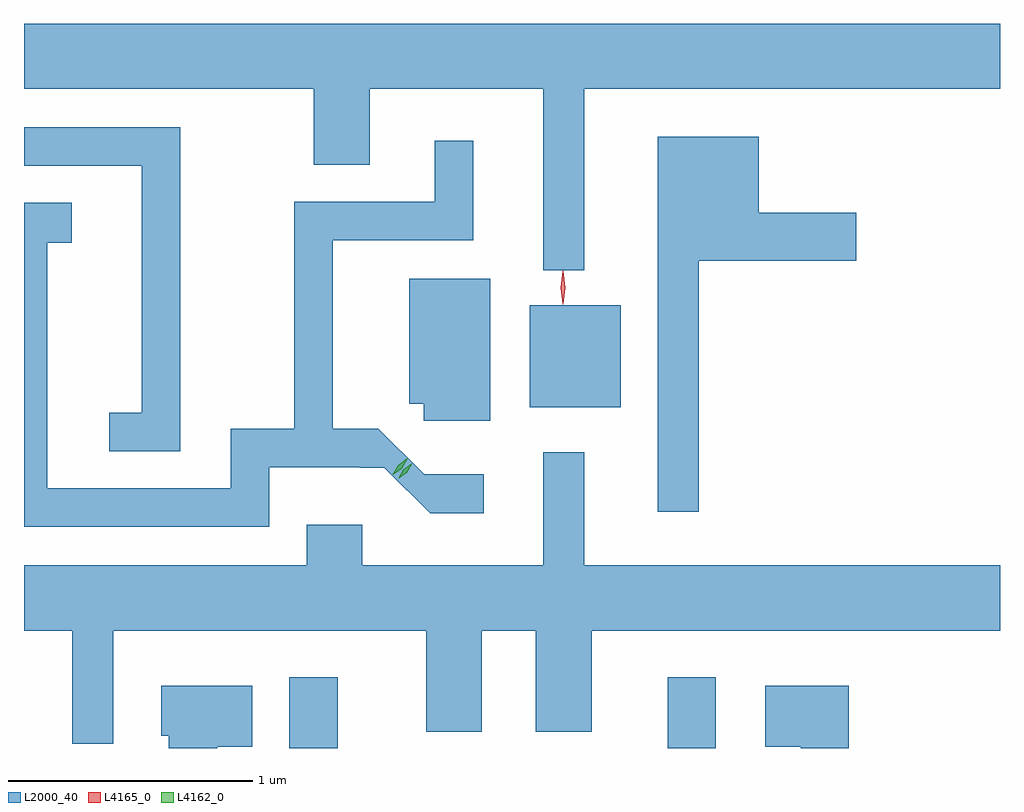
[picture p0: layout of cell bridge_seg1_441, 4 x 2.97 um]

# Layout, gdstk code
import gdstk
lib = gdstk.Library(unit=1e-6, precision=1e-09)
def R(c, l, rs):  # rectangles x0, y0, x1, y1
    for r in rs: c.add(gdstk.rectangle(r[:2], r[2:], *l))
def P(c, l, *ps):  # polygons
    for p in ps: c.add(gdstk.Polygon(p, *l))
L2000_40 = (2000, 40)
L4162_0 = (4162, 0)
L4165_0 = (4165, 0)

bridge_seg1_441 = lib.new_cell('bridge_seg1_441')
R(bridge_seg1_441, L2000_40, [(197.291,863.573,197.489,863.864), (198.841,863.573,199.039,863.864), (198.276,864.971,198.649,865.389)])
P(bridge_seg1_441, L2000_40, [(198.499,866.276),(200.203,866.276),(200.203,866.544),(196.203,866.544),(196.203,866.276),(197.391,866.276),(197.391,865.966),(197.619,865.966),(197.619,866.276),(198.331,866.276),(198.331,865.533),(198.499,865.533)],
  [(196.844,866.119),(196.203,866.119),(196.203,865.961),(196.686,865.961),(196.686,864.949),(196.553,864.949),(196.553,864.791),(196.844,864.791)],
  [(198.969,865.571),(199.614,865.571),(199.614,865.769),(199.214,865.769),(199.214,866.079),(198.801,866.079),(198.801,864.543),(198.969,864.543)],
  [(197.209,864.726),(197.578,864.726),(197.578,864.724),(197.68,864.724),(197.868,864.536),(198.088,864.536),(198.088,864.696),(197.843,864.696),(197.655,864.884),(197.469,864.884),(197.469,865.656),(198.044,865.656),(198.044,866.063),(197.886,866.063),(197.886,865.814),(197.311,865.814),(197.311,864.884),(197.051,864.884),(197.051,864.639),(196.299,864.639),(196.299,865.646),(196.398,865.646),(196.398,865.809),(196.203,865.809),(196.203,864.481),(197.209,864.481)],
  [(198.114,865.499),(197.781,865.499),(197.781,864.986),(197.841,864.986),(197.841,864.916),(198.114,864.916)],
  [(196.569,864.056),(197.851,864.056),(197.851,863.641),(198.079,863.641),(198.079,864.056),(198.301,864.056),(198.301,863.641),(198.529,863.641),(198.529,864.056),(200.203,864.056),(200.203,864.324),(198.499,864.324),(198.499,864.788),(198.331,864.788),(198.331,864.324),(197.589,864.324),(197.589,864.489),(197.361,864.489),(197.361,864.324),(196.203,864.324),(196.203,864.056),(196.401,864.056),(196.401,863.593),(196.569,863.593)],
  [(196.994,863.581),(197.139,863.581),(197.139,863.829),(196.766,863.829),(196.766,863.626),(196.796,863.626),(196.796,863.573),(196.994,863.573)],
  [(199.584,863.829),(199.241,863.829),(199.241,863.581),(199.386,863.581),(199.386,863.573),(199.584,863.573)])
P(bridge_seg1_441, L4162_0, [(197.736,864.678),(197.736,864.679),(197.757,864.715),(197.791,864.739),(197.792,864.739),(197.792,864.738),(197.771,864.702),(197.737,864.678)],
  [(197.712,864.692),(197.712,864.693),(197.736,864.734),(197.774,864.762),(197.775,864.762),(197.775,864.762),(197.751,864.72),(197.712,864.692)])
P(bridge_seg1_441, L4165_0, [(198.412,865.398),(198.412,865.399),(198.402,865.463),(198.412,865.527),(198.412,865.527),(198.413,865.527),(198.422,865.463),(198.413,865.399)],
  [(198.412,865.393),(198.412,865.394),(198.402,865.462),(198.412,865.53),(198.412,865.53),(198.413,865.53),(198.422,865.462),(198.413,865.394)])

lib.write_gds('bridge_seg1_441.gds')
